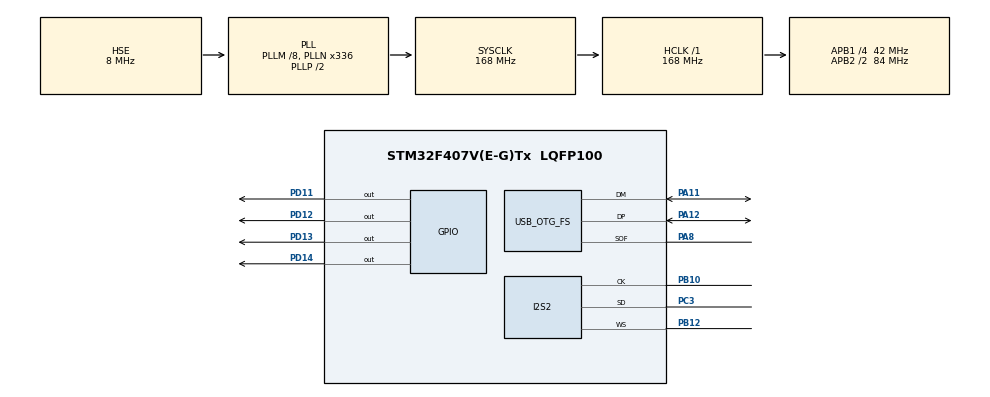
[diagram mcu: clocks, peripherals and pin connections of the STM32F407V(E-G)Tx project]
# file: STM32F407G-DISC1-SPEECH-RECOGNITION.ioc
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Dma.Request0=SPI2_RX
Dma.SPI2_RX.0.Direction=DMA_PERIPH_TO_MEMORY
Dma.SPI2_RX.0.FIFOMode=DMA_FIFOMODE_DISABLE
Dma.SPI2_RX.0.Instance=DMA1_Stream3
Dma.SPI2_RX.0.MemDataAlignment=DMA_MDATAALIGN_HALFWORD
Dma.SPI2_RX.0.MemInc=DMA_MINC_ENABLE
Dma.SPI2_RX.0.Mode=DMA_CIRCULAR
Dma.SPI2_RX.0.PeriphDataAlignment=DMA_PDATAALIGN_HALFWORD
Dma.SPI2_RX.0.PeriphInc=DMA_PINC_DISABLE
Dma.SPI2_RX.0.Priority=DMA_PRIORITY_HIGH
I2S2.AudioFreq=I2S_AUDIOFREQ_32K
I2S2.ErrorAudioFreq=0.09 %
I2S2.FullDuplexMode=I2S_FULLDUPLEXMODE_DISABLE
I2S2.Instance=SPI$Index
I2S2.Mode=I2S_MODE_MASTER_RX
I2S2.RealAudioFreq=32.031 KHz
I2S2.VirtualMode=I2S_MODE_MASTER
Mcu.Family=STM32F4
Mcu.Name=STM32F407V(E-G)Tx
Mcu.Package=LQFP100
NVIC.DMA1_Stream3_IRQn=true\:0\:0\:false\:false\:true\:false\:true\:true
NVIC.OTG_FS_IRQn=true\:0\:0\:false\:false\:true\:true\:true\:true
NVIC.PriorityGroup=NVIC_PRIORITYGROUP_0
PA11.Mode=Device_Only
PA11.Signal=USB_OTG_FS_DM
PA12.Mode=Device_Only
PA12.Signal=USB_OTG_FS_DP
PA8.Mode=Activate_SOF_FS
PA8.Signal=USB_OTG_FS_SOF
PB10.Mode=Half_Duplex_Master
PB10.Signal=I2S2_CK
PB12.Mode=Half_Duplex_Master
PB12.Signal=I2S2_WS
PC3.Mode=Half_Duplex_Master
PC3.Signal=I2S2_SD
PD11.GPIO_PuPd=GPIO_PULLDOWN
PD11.GPIO_Speed=GPIO_SPEED_FREQ_HIGH
PD11.Signal=GPIO_Output
PD12.GPIO_ModeDefaultOutputPP=GPIO_MODE_OUTPUT_PP
PD12.GPIO_PuPd=GPIO_PULLDOWN
PD12.GPIO_Speed=GPIO_SPEED_FREQ_HIGH
PD12.PinState=GPIO_PIN_RESET
PD12.Signal=GPIO_Output
PD13.GPIO_PuPd=GPIO_PULLDOWN
PD13.GPIO_Speed=GPIO_SPEED_FREQ_HIGH
PD13.Signal=GPIO_Output
PD14.Signal=GPIO_Output
PH0-OSC_IN.Mode=HSE-External-Oscillator
PH0-OSC_IN.Signal=RCC_OSC_IN
PH1-OSC_OUT.Mode=HSE-External-Oscillator
PH1-OSC_OUT.Signal=RCC_OSC_OUT
ProjectManager.HeapSize=0x800
ProjectManager.StackSize=0x800
ProjectManager.TargetToolchain=STM32CubeIDE
RCC.48MHZClocksFreq_Value=48000000
RCC.AHBFreq_Value=168000000
RCC.APB1CLKDivider=RCC_HCLK_DIV4
RCC.APB1Freq_Value=42000000
RCC.APB1TimFreq_Value=84000000
RCC.APB2CLKDivider=RCC_HCLK_DIV2
RCC.APB2Freq_Value=84000000
RCC.APB2TimFreq_Value=168000000
RCC.CortexFreq_Value=168000000
RCC.HCLKFreq_Value=168000000
RCC.HSE_VALUE=8000000
RCC.HSI_VALUE=16000000
RCC.LSE_VALUE=32768
RCC.PLLI2SN=369
RCC.PLLI2SR=6
RCC.PLLM=8
RCC.PLLN=336
RCC.PLLQ=7
RCC.SYSCLKFreq_VALUE=168000000
RCC.SYSCLKSource=RCC_SYSCLKSOURCE_PLLCLK
RCC.VCOOutputFreq_Value=336000000
STMicroelectronics.X-CUBE-AI.8.1.0.ActivationBufferSizeList=26112
STMicroelectronics.X-CUBE-AI.8.1.0.ActivationBuffers=pool0
STMicroelectronics.X-CUBE-AI.8.1.0.ActivationNames=pool0
STMicroelectronics.X-CUBE-AI.8.1.0.ActivationSizes=AI_AUDIO_CLASSIFIER_DATA_ACTIVATION_1_SIZE
STMicroelectronics.X-CUBE-AI.8.1.0.HeapSize=0x800
STMicroelectronics.X-CUBE-AI.8.1.0.InternalRamActivationBufferMaxSize=AI_AUDIO_CLASSIFIER_DATA_ACTIVATIONS_SIZE
STMicroelectronics.X-CUBE-AI.8.1.0.LatestDirectoryUsed-152232b1f4181439bb3ded3a30b57dcd3b0397a75c1597d7e3277219281e65e8=C\:\\Users\\karim\\Documents\\Embedded ML\\TinyML-Audio-Classification\\models
STMicroelectronics.X-CUBE-AI.8.1.0.MaximumNumberOfInputLayer=1
STMicroelectronics.X-CUBE-AI.8.1.0.MaximumNumberOfOutputLayer=1
STMicroelectronics.X-CUBE-AI.8.1.0.MaximumSizeOfInputLayer=1
STMicroelectronics.X-CUBE-AI.8.1.0.MaximumSizeOfOutputLayer=1
STMicroelectronics.X-CUBE-AI.8.1.0.ModelActualCompression-152232b1f4181439bb3ded3a30b57dcd3b0397a75c1597d7e3277219281e65e8=0.0
STMicroelectronics.X-CUBE-AI.8.1.0.ModelCompression-152232b1f4181439bb3ded3a30b57dcd3b0397a75c1597d7e3277219281e65e8=None
STMicroelectronics.X-CUBE-AI.8.1.0.ModelFlashOccupation-152232b1f4181439bb3ded3a30b57dcd3b0397a75c1597d7e3277219281e65e8=56038
STMicroelectronics.X-CUBE-AI.8.1.0.ModelHashList=152232b1f4181439bb3ded3a30b57dcd3b0397a75c1597d7e3277219281e65e8
STMicroelectronics.X-CUBE-AI.8.1.0.ModelKind-152232b1f4181439bb3ded3a30b57dcd3b0397a75c1597d7e3277219281e65e8=TFLITE
STMicroelectronics.X-CUBE-AI.8.1.0.ModelMacc-152232b1f4181439bb3ded3a30b57dcd3b0397a75c1597d7e3277219281e65e8=102560
STMicroelectronics.X-CUBE-AI.8.1.0.ModelName-152232b1f4181439bb3ded3a30b57dcd3b0397a75c1597d7e3277219281e65e8=audio_classifier
STMicroelectronics.X-CUBE-AI.8.1.0.ModelNameList=audio_classifier
STMicroelectronics.X-CUBE-AI.8.1.0.ModelRamOccupation-152232b1f4181439bb3ded3a30b57dcd3b0397a75c1597d7e3277219281e65e8=26112
STMicroelectronics.X-CUBE-AI.8.1.0.ModelStructureFile-152232b1f4181439bb3ded3a30b57dcd3b0397a75c1597d7e3277219281e65e8=C\:\\Users\\karim\\Documents\\Embedded ML\\TinyML-Audio-Classification\\models\\model_no_quant.tflite
STMicroelectronics.X-CUBE-AI.8.1.0.ModelType-152232b1f4181439bb3ded3a30b57dcd3b0397a75c1597d7e3277219281e65e8=STM32Cube.AI runtime
STMicroelectronics.X-CUBE-AI.8.1.0.ReadyForCodeGeneration=true
STMicroelectronics.X-CUBE-AI.8.1.0.StackSize=0x800
STMicroelectronics.X-CUBE-AI.8.1.0.WorkingBufferStartAddrList=0xFFFFFFFF
STMicroelectronics.X-CUBE-AI.8.1.0.XAaCUBEAaAICcArtificialOoIntelligenceJjCore=true
STMicroelectronics.X-CUBE-AI.8.1.0.copyWeightToRam=false
STMicroelectronics.X-CUBE-AI.8.1.0.copyWeightToRam-152232b1f4181439bb3ded3a30b57dcd3b0397a75c1597d7e3277219281e65e8=false
STMicroelectronics.X-CUBE-AI.8.1.0.customLayerConfigEnabled=false
STMicroelectronics.X-CUBE-AI.8.1.0.customLayerConfigEnabled-152232b1f4181439bb3ded3a30b57dcd3b0397a75c1597d7e3277219281e65e8=false
STMicroelectronics.X-CUBE-AI.8.1.0.noOnnxIoTranspose=false
STMicroelectronics.X-CUBE-AI.8.1.0.noOnnxIoTranspose-152232b1f4181439bb3ded3a30b57dcd3b0397a75c1597d7e3277219281e65e8=false
STMicroelectronics.X-CUBE-AI.8.1.0.useInputAllocation=true
STMicroelectronics.X-CUBE-AI.8.1.0.useInputAllocation-152232b1f4181439bb3ded3a30b57dcd3b0397a75c1597d7e3277219281e65e8=true
STMicroelectronics.X-CUBE-AI.8.1.0.useOutputAllocation=true
STMicroelectronics.X-CUBE-AI.8.1.0.useOutputAllocation-152232b1f4181439bb3ded3a30b57dcd3b0397a75c1597d7e3277219281e65e8=true
STMicroelectronics.X-CUBE-ALGOBUILD.1.3.0.LibraryCcDSPOoLibraryJjDSPOoLibrary=true
USB_DEVICE.CLASS_NAME_FS=CDC
USB_DEVICE.VirtualMode-CDC_FS=Cdc
USB_DEVICE.VirtualModeFS=Cdc_FS
USB_OTG_FS.VirtualMode=Device_Only
VP_CRC_VS_CRC.Mode=CRC_Activate
VP_STMicroelectronics.X-CUBE-AI_VS_ArtificialOoIntelligenceJjXAaCUBEAaAI_8.1.0.Mode=ArtificialOoIntelligenceJjXAaCUBEAaAI
VP_STMicroelectronics.X-CUBE-ALGOBUILD_VS_DSPOoLibraryJjLibrary_1.3.0_1.3.0.Mode=DSPOoLibraryJjLibrary
VP_USB_DEVICE_VS_USB_DEVICE_CDC_FS.Mode=CDC_FS
board=STM32F407G-DISC1

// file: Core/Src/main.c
/* USER CODE BEGIN Header */
/**
  ******************************************************************************
  * @file           : main.c
  * @brief          : Main program body
  ******************************************************************************
  * @attention
  *
  * Copyright (c) 2024 STMicroelectronics.
  * All rights reserved.
  *
  * This software is licensed under terms that can be found in the LICENSE file
  * in the root directory of this software component.
  * If no LICENSE file comes with this software, it is provided AS-IS.
  *
  ******************************************************************************
  */
/* USER CODE END Header */
#include "main.h"
#include "usb_device.h"

/* USER CODE BEGIN Includes */

/* Importing audio-utils for audio pre-processing and audio capture */
#include "audio_utils.h"

/* Importing Cube.AI Libraries for Model Building and Inference. */
#include "audio_classifier_data.h"
#include "audio_classifier.h"
#include "ai_platform.h"
#include "ai_datatypes_defines.h"

/* USER CODE END Includes */

/* USER CODE BEGIN PM */

/* Define Model's output classes. */
#define NO_CLASS                  0U
#define NOISE_CLASS               1U
#define YES_CLASS                 2U

/* Define Model's output threshold. */
#define DECISION_THRESHOLD        0.7

/* USER CODE END PM */

CRC_HandleTypeDef hcrc;

I2S_HandleTypeDef hi2s2;
DMA_HandleTypeDef hdma_spi2_rx;

/* USER CODE BEGIN PV */

/* Array that stores 1s of PCM Audio Data. */
int16_t pcm_recording_buffer[AUDIO_PCM_BUFFER_SIZE];

/* Declaration of the audio_model handler. */
static ai_handle audio_model = AI_HANDLE_NULL;

/* Global c-array to handle the activations buffer */
AI_ALIGNED(32)
static ai_u8 activations[AI_AUDIO_CLASSIFIER_DATA_ACTIVATIONS_SIZE];

/* Array to store the data of the input tensor */
AI_ALIGNED(32)
static ai_float in_data[AI_AUDIO_CLASSIFIER_IN_1_SIZE];

/* c-array to store the data of the output tensor */
AI_ALIGNED(32)
static ai_float out_data[AI_AUDIO_CLASSIFIER_OUT_1_SIZE];

/* Array of pointer to manage the model's input/output tensors */
ai_buffer *ai_input;
ai_buffer *ai_output;

/* USER CODE END PV */

void SystemClock_Config(void);
static void MX_GPIO_Init(void);
static void MX_DMA_Init(void);
static void MX_I2S2_Init(void);
static void MX_CRC_Init(void);
/* USER CODE BEGIN PFP */
void USB_CDC_RxHandler(uint8_t*, uint32_t);

/* AI Utility Functions that uses Cube.AI API. */
int aiInit(void);
int aiRun(const void*in_data, void *out_data);

/* Led Turn on based on Model's Output `out_data`. */
void led_turn_on(float *out_data);

/* USER CODE END PFP */

/* USER CODE BEGIN 0 */

/**
 * @brief Turn on LED based on the model's output.
 *
 * This function turns on specific LEDs connected to GPIOD based on the
 * values in the model's output buffer. It lights up a green LED if the
 * third element of the output buffer is greater than 0.7, and a red LED
 * if the first element is greater than 0.7. The LEDs remain on for 1 second.
 *
 * @param[out] out_data Pointer to the model's output buffer.
 */
void led_turn_on(float *out_data) {

	if ( out_data[YES_CLASS] > DECISION_THRESHOLD ) {
		/* Turn on Green Led. */
		HAL_GPIO_WritePin(GPIOD, GPIO_PIN_12, GPIO_PIN_SET);
		HAL_Delay(1000);
	}

	if ( out_data[NO_CLASS] > DECISION_THRESHOLD ) {
		/* Turn on Red Led. */
		HAL_GPIO_WritePin(GPIOD, GPIO_PIN_14, GPIO_PIN_SET);
		HAL_Delay(1000);
	}

	/* Turn off all Led. */
	HAL_GPIO_WritePin(GPIOD, GPIO_PIN_12|GPIO_PIN_14, GPIO_PIN_RESET);
}

/**
 * @brief Initialize the AI model for audio classification.
 *
 * This function sets up and initializes the AI audio classification model by
 * creating the model instance and retrieving input and output tensor pointers.
 * It uses an array of activation functions to configure the model's layers.
 *
 * @return Returns 0 on successful initialization.
 *
 * @note Ensure that the activations array is defined before calling this
 * function, as it is used to configure the model.
 */
int aiInit(void) {

  /* Array of activation functions */
  const ai_handle acts[] = { activations };

  /* Create and Define the Model */
  ai_audio_classifier_create_and_init(&audio_model, acts, NULL);

  /* Retrieve pointers to the model's input/output tensors */
  ai_input = ai_audio_classifier_inputs_get(audio_model, NULL);
  ai_output = ai_audio_classifier_outputs_get(audio_model, NULL);

  return 0;
}

/**
 * @brief Run inference on the AI model with the given input data.
 *
 * This function performs inference using the AI audio classification model.
 * It updates the input and output tensor data handlers with the provided
 * data pay-loads, executes the model, and handles any errors that occur
 * during the inference process.
 *
 * @param[in] in_data Pointer to the input data to be processed by the model.
 * @param[out] out_data Pointer to the buffer where the model's output data
 * will be stored.
 *
 * @return Returns 0 on successful execution of the inference.
 *
 * @note The function assumes that the model has been properly initialized
 * before calling this function.
 */
int aiRun(const void*in_data, void *out_data) {
	ai_i32 n_batch;

	/* Update IO handlers with the data pay-load */
	ai_input[0].data = AI_HANDLE_PTR(in_data);
	ai_output[0].data = AI_HANDLE_PTR(out_data);

	/* Perform the inference */
	n_batch = ai_audio_classifier_run(audio_model, &ai_input[0], &ai_output[0]);

	if (n_batch != 1) {
		ai_audio_classifier_get_error(audio_model);
		for(;;);
	};
	return 0;
}

/* USER CODE END 0 */

int main(void)
{

  /* MCU Configuration--------------------------------------------------------*/

  /* Reset of all peripherals, Initializes the Flash interface and the Systick. */
  HAL_Init();

  /* Configure the system clock */
  SystemClock_Config();

  /* Initialize all configured peripherals */
  MX_GPIO_Init();
  MX_DMA_Init();
  MX_I2S2_Init();
  MX_USB_DEVICE_Init();
  MX_CRC_Init();
  /* USER CODE BEGIN 2 */

  /* Audio Init Functions */
  audio_preprocessing_init();
  audio_init();

  /* AI Model Init function. */
  aiInit();

  /* USER CODE END 2 */

  /* Infinite loop */
  while (1)
  {

    /* USER CODE BEGIN 3 */

	/* Record 1s of Audio Data and save it in pcm_recording_buffer */
	audio_pcm_record(&pcm_recording_buffer[0],
			AUDIO_PCM_BUFFER_SIZE);

	/* Generate a logMelSpectrogram matrix and save it in in_data model's input buffer*/
	audio_logMelSpectrogram(pcm_recording_buffer,
			&in_data[0],
			AUDIO_PCM_BUFFER_SIZE);

	/* Run Model inference. */
	aiRun(&in_data[0], &out_data[0]);

	/* Decide which Led should turn on. */
	led_turn_on(&out_data[0]);

  }

  /* USER CODE END 3 */
}

void SystemClock_Config(void)
{
  RCC_OscInitTypeDef RCC_OscInitStruct = {0};
  RCC_ClkInitTypeDef RCC_ClkInitStruct = {0};

  /** Configure the main internal regulator output voltage
  */
  __HAL_RCC_PWR_CLK_ENABLE();
  __HAL_PWR_VOLTAGESCALING_CONFIG(PWR_REGULATOR_VOLTAGE_SCALE1);

  /** Initializes the RCC Oscillators according to the specified parameters
  * in the RCC_OscInitTypeDef structure.
  */
  RCC_OscInitStruct.OscillatorType = RCC_OSCILLATORTYPE_HSE;
  RCC_OscInitStruct.HSEState = RCC_HSE_ON;
  RCC_OscInitStruct.PLL.PLLState = RCC_PLL_ON;
  RCC_OscInitStruct.PLL.PLLSource = RCC_PLLSOURCE_HSE;
  RCC_OscInitStruct.PLL.PLLM = 8;
  RCC_OscInitStruct.PLL.PLLN = 336;
  RCC_OscInitStruct.PLL.PLLP = RCC_PLLP_DIV2;
  RCC_OscInitStruct.PLL.PLLQ = 7;
  if (HAL_RCC_OscConfig(&RCC_OscInitStruct) != HAL_OK)
  {
    Error_Handler();
  }

  /** Initializes the CPU, AHB and APB buses clocks
  */
  RCC_ClkInitStruct.ClockType = RCC_CLOCKTYPE_HCLK|RCC_CLOCKTYPE_SYSCLK
                              |RCC_CLOCKTYPE_PCLK1|RCC_CLOCKTYPE_PCLK2;
  RCC_ClkInitStruct.SYSCLKSource = RCC_SYSCLKSOURCE_PLLCLK;
  RCC_ClkInitStruct.AHBCLKDivider = RCC_SYSCLK_DIV1;
  RCC_ClkInitStruct.APB1CLKDivider = RCC_HCLK_DIV4;
  RCC_ClkInitStruct.APB2CLKDivider = RCC_HCLK_DIV2;

  if (HAL_RCC_ClockConfig(&RCC_ClkInitStruct, FLASH_LATENCY_5) != HAL_OK)
  {
    Error_Handler();
  }
}

static void MX_CRC_Init(void)
{

  hcrc.Instance = CRC;
  if (HAL_CRC_Init(&hcrc) != HAL_OK)
  {
    Error_Handler();
  }

}

static void MX_I2S2_Init(void)
{

  hi2s2.Instance = SPI2;
  hi2s2.Init.Mode = I2S_MODE_MASTER_RX;
  hi2s2.Init.Standard = I2S_STANDARD_PHILIPS;
  hi2s2.Init.DataFormat = I2S_DATAFORMAT_16B;
  hi2s2.Init.MCLKOutput = I2S_MCLKOUTPUT_DISABLE;
  hi2s2.Init.AudioFreq = I2S_AUDIOFREQ_32K;
  hi2s2.Init.CPOL = I2S_CPOL_LOW;
  hi2s2.Init.ClockSource = I2S_CLOCK_PLL;
  hi2s2.Init.FullDuplexMode = I2S_FULLDUPLEXMODE_DISABLE;
  if (HAL_I2S_Init(&hi2s2) != HAL_OK)
  {
    Error_Handler();
  }

}

static void MX_DMA_Init(void)
{

  /* DMA controller clock enable */
  __HAL_RCC_DMA1_CLK_ENABLE();

  /* DMA interrupt init */
  /* DMA1_Stream3_IRQn interrupt configuration */
  HAL_NVIC_SetPriority(DMA1_Stream3_IRQn, 0, 0);
  HAL_NVIC_EnableIRQ(DMA1_Stream3_IRQn);

}

static void MX_GPIO_Init(void)
{
  GPIO_InitTypeDef GPIO_InitStruct = {0};

  /* GPIO Ports Clock Enable */
  __HAL_RCC_GPIOH_CLK_ENABLE();
  __HAL_RCC_GPIOC_CLK_ENABLE();
  __HAL_RCC_GPIOB_CLK_ENABLE();
  __HAL_RCC_GPIOD_CLK_ENABLE();
  __HAL_RCC_GPIOA_CLK_ENABLE();

  /*Configure GPIO pin Output Level */
  HAL_GPIO_WritePin(GPIOD, GPIO_PIN_11|GPIO_PIN_12|GPIO_PIN_13|GPIO_PIN_14, GPIO_PIN_RESET);

  /*Configure GPIO pins : PD11 PD12 PD13 */
  GPIO_InitStruct.Pin = GPIO_PIN_11|GPIO_PIN_12|GPIO_PIN_13;
  GPIO_InitStruct.Mode = GPIO_MODE_OUTPUT_PP;
  GPIO_InitStruct.Pull = GPIO_PULLDOWN;
  GPIO_InitStruct.Speed = GPIO_SPEED_FREQ_HIGH;
  HAL_GPIO_Init(GPIOD, &GPIO_InitStruct);

  /*Configure GPIO pin : PD14 */
  GPIO_InitStruct.Pin = GPIO_PIN_14;
  GPIO_InitStruct.Mode = GPIO_MODE_OUTPUT_PP;
  GPIO_InitStruct.Pull = GPIO_NOPULL;
  GPIO_InitStruct.Speed = GPIO_SPEED_FREQ_LOW;
  HAL_GPIO_Init(GPIOD, &GPIO_InitStruct);

}

void Error_Handler(void)
{
  __disable_irq();
  while (1)
  {
  }
}
